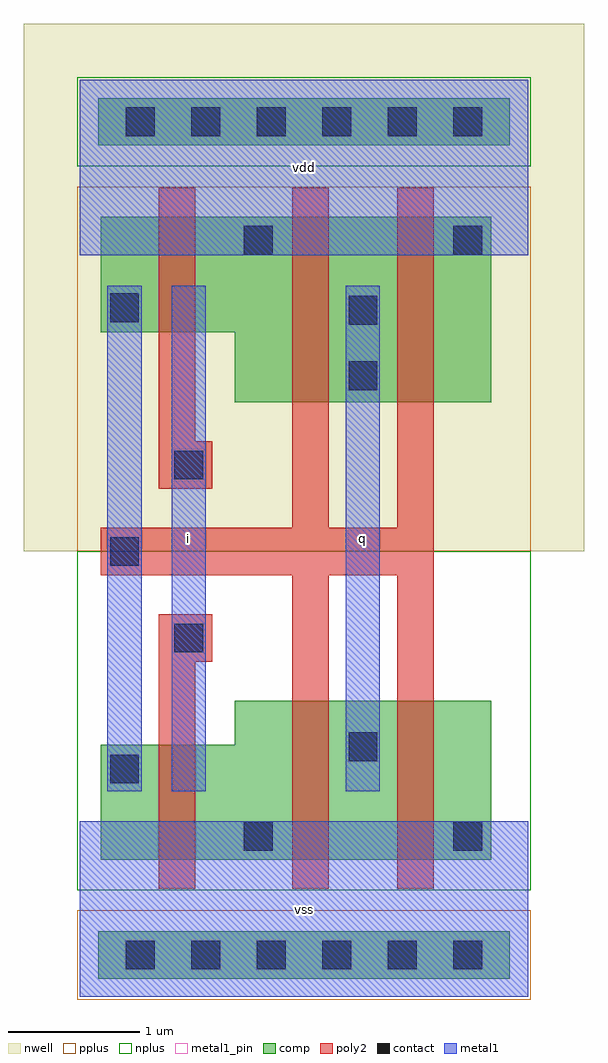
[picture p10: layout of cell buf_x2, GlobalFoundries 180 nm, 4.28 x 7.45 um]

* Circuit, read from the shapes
.subckt buf_x2 i q vdd vss
XM1 vss i n1 vss nfet_03v3 w=0.88u l=0.28u
XM2 q n1 vss vss nfet_03v3 w=1.215u l=0.28u m=2
XM3 vdd i n1 vdd pfet_03v3 w=0.88u l=0.28u
XM4 q n1 vdd vdd pfet_03v3 w=1.415u l=0.28u m=2
.ends

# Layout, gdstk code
import gdstk
lib = gdstk.Library(unit=1e-6, precision=1e-09)
def R(c, l, rs):  # rectangles x0, y0, x1, y1
    for r in rs: c.add(gdstk.rectangle(r[:2], r[2:], *l))
def A(c, l, x, y, w, h, nx, ny, dx, dy):  # array of equal rectangles
    R(c, l, [(x+i*dx, y+j*dy, x+i*dx+w, y+j*dy+h) for i in range(nx) for j in range(ny)])
def P(c, l, *ps):  # polygons
    for p in ps: c.add(gdstk.Polygon(p, *l))
nwell = (21, 0)
comp = (22, 0)
poly2 = (30, 0)
pplus = (31, 0)
nplus = (32, 0)
contact = (33, 0)
metal1 = (34, 0)
metal1_pin = (34, 10)

buf_x2 = lib.new_cell('buf_x2')
R(buf_x2, nwell, [(-0.43,3.4,3.85,7.43)])
R(buf_x2, comp, [(0.14,0.14,3.28,0.5), (0.14,6.5,3.28,6.86)])
P(buf_x2, comp, [(1.18,4.54),(1.18,5.075),(0.16,5.075),(0.16,5.955),(3.14,5.955),(3.14,4.54)],
  [(0.16,1.045),(0.16,1.925),(1.18,1.925),(1.18,2.26),(3.14,2.26),(3.14,1.045)])
P(buf_x2, poly2, [(1.62,0.825),(1.62,3.22),(0.16,3.22),(0.16,3.58),(1.62,3.58),(1.62,6.175),(1.9,6.175),(1.9,3.58),(2.42,3.58),(2.42,6.175),(2.7,6.175),(2.7,0.825),(2.42,0.825),(2.42,3.22),(1.9,3.22),(1.9,0.825)],
  [(0.6,3.88),(0.6,6.175),(0.88,6.175),(0.88,4.24),(1.01,4.24),(1.01,3.88)],
  [(0.6,0.825),(0.6,2.92),(1.01,2.92),(1.01,2.56),(0.88,2.56),(0.88,0.825)])
R(buf_x2, pplus, [(-0.02,-0.02,3.44,0.66), (-0.02,3.4,3.44,6.185)])
R(buf_x2, nplus, [(-0.02,0.815,3.44,3.4), (-0.02,6.34,3.44,7.02)])
A(buf_x2, contact, 0.35, 0.21, 0.22, 0.22, 6, 2, 0.5, 6.36)
R(buf_x2, contact, [(1.25,1.115,1.47,1.335), (2.85,1.115,3.07,1.335), (0.23,1.63,0.45,1.85), (2.05,1.8,2.27,2.02), (0.72,2.63,0.94,2.85), (0.23,3.29,0.45,3.51), (0.72,3.95,0.94,4.17), (2.05,4.63,2.27,4.85), (2.05,5.13,2.27,5.35), (0.23,5.15,0.45,5.37), (1.25,5.665,1.47,5.885), (2.85,5.665,3.07,5.885)])
R(buf_x2, metal1, [(0,0,3.42,1.34), (0.21,1.57,0.47,5.43), (0.7,1.57,0.96,5.43), (2.03,1.57,2.29,5.43), (0,5.66,3.42,7)])
R(buf_x2, metal1_pin, [(0,0,3.42,1.34), (0.7,1.57,0.96,5.43), (2.03,1.57,2.29,5.43), (0,5.66,3.42,7)])
buf_x2.add(gdstk.Label('vdd', (1.71,6.33), layer=34, texttype=10))
buf_x2.add(gdstk.Label('vss', (1.71,0.67), layer=34, texttype=10))
buf_x2.add(gdstk.Label('i', (0.83,3.5), layer=34, texttype=10))
buf_x2.add(gdstk.Label('q', (2.16,3.5), layer=34, texttype=10))

lib.write_gds('buf_x2.gds')
